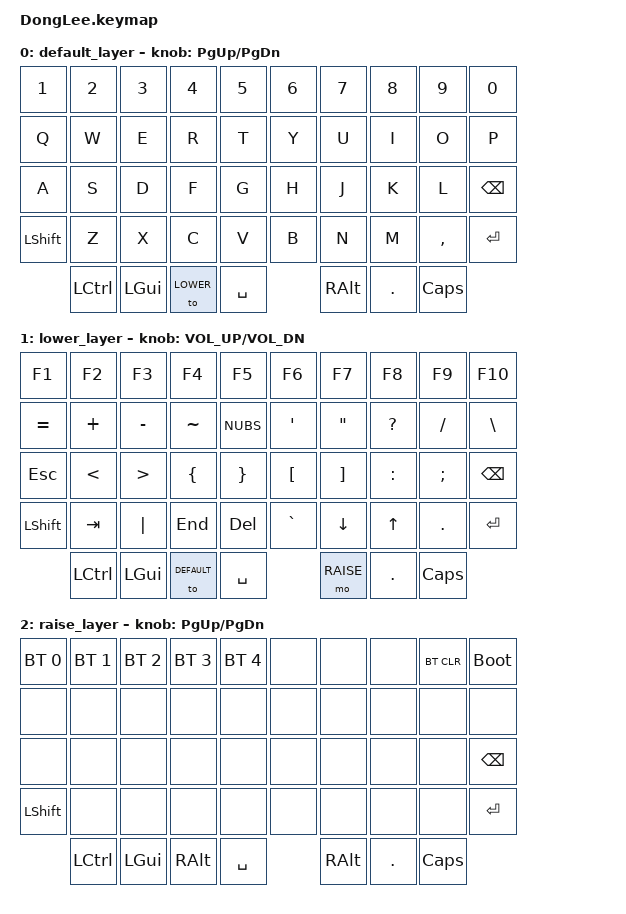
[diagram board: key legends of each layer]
/*
 * Copyright (c) 2020 The ZMK Contributors
 *
 * SPDX-License-Identifier: MIT
 */

#include <behaviors.dtsi>
#include <dt-bindings/zmk/keys.h>
#include <dt-bindings/zmk/bt.h>

#define DEFAULT 0
#define LOWER   1
#define RAISE   2

/ {
    keymap0: keymap {
        compatible = "zmk,keymap";

        default_layer {
// -----------------------------------------------------------------------------------------------------                       
// |  1   |  2  |  3  |  4  |  5  |  6  |  7   |  8  |  9  |   0   | 
// |  Q   |  W  |  E  |  R  |  T  |  Y  |  U   |  I  |  O  |   P   | 
// |  A   |  S  |  D  |  F  |  G  |  H  |  J   |  K  |  L  |  BSPC |
// | SHFT |  Z  |  X  |  C  |  V  |  B  |  N  |  M   |  ,  |  RET  | 
//       | LCTRL | LGUI | MO | SPACE |  RALT | DOT | CAPS |
// -----------------------------------------------------------------------------------------------------
            bindings = <
     &kp N1    &kp N2   &kp N3   &kp N4   &kp N5   &kp N6   &kp N7   &kp N8    &kp N9     &kp N0                            
     &kp Q     &kp W    &kp E    &kp R    &kp T    &kp Y    &kp U    &kp I     &kp O      &kp P    
     &kp A     &kp S    &kp D    &kp F    &kp G    &kp H    &kp J    &kp K     &kp L      &kp BSPC
     &kp LSHFT &kp Z    &kp X    &kp C    &kp V    &kp B    &kp N    &kp M     &kp COMMA  &kp RET
            &kp LCTRL   &kp LGUI  &to LOWER   &kp SPACE   &kp RALT   &kp DOT    &kp CLCK 
            >;
            sensor-bindings = <&inc_dec_kp PG_UP PG_DN>;
        };

         lower_layer {
                        bindings = <
     &kp F1      &kp F2      &kp F3      &kp F4      &kp F5      &kp F6       &kp F7     &kp F8       &kp F9        &kp F10 
     &kp EQUAL   &kp PLUS    &kp MINUS   &kp TILDE   &kp NUBS    &kp SQT      &kp DQT    &kp QMARK    &kp FSLH      &kp BSLH
     &kp ESC     &kp LT      &kp GT      &kp LBRC    &kp RBRC    &kp LBKT     &kp RBKT   &kp COLON    &kp SEMI      &kp BSPC
     &kp LSHFT   &kp TAB     &kp PIPE    &kp END     &kp DEL     &kp GRAVE    &kp DOWN   &kp UP       &kp DOT    &kp RET
             &kp LCTRL   &kp LGUI    &to DEFAULT   &kp SPACE     &mo RAISE   &kp DOT   &kp CLCK
           >;
           sensor-bindings = <&inc_dec_kp C_VOL_UP C_VOL_DN>;
        };
     raise_layer {
                        bindings = <
     &bt BT_SEL 0  &bt BT_SEL 1  &bt BT_SEL 2   &bt BT_SEL 3   &bt BT_SEL 4  &none       &none       &none     &bt BT_CLR  &bootloader
     &none         &none         &none          &none          &none         &none       &none       &none     &none       &none
     &none         &none         &none          &none          &none         &none       &none       &none     &none       &kp BSPC   
     &kp LSHFT     &none         &none          &none          &none         &none       &none       &none     &none       &kp RET
             &kp LCTRL   &kp LGUI   &kp RALT   &kp SPACE    &kp RALT    &kp DOT   &kp CLCK
                        >;
                        sensor-bindings = <&inc_dec_kp PG_UP PG_DN>;
                };
    };
};


